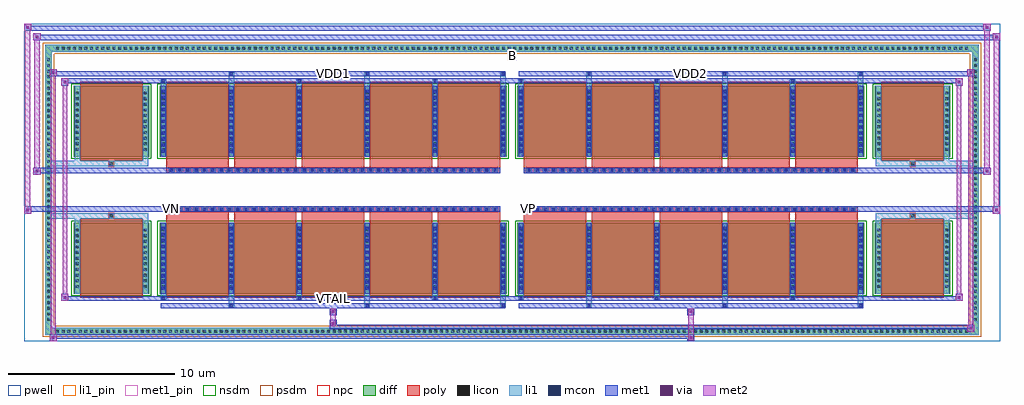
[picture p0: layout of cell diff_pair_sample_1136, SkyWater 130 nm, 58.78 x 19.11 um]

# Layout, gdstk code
import gdstk
lib = gdstk.Library(unit=1e-6, precision=5e-09)
def R(c, l, rs):  # rectangles x0, y0, x1, y1
    for r in rs: c.add(gdstk.rectangle(r[:2], r[2:], *l))
def A(c, l, x, y, w, h, nx, ny, dx, dy):  # array of equal rectangles
    R(c, l, [(x+i*dx, y+j*dy, x+i*dx+w, y+j*dy+h) for i in range(nx) for j in range(ny)])
def P(c, l, *ps):  # polygons
    for p in ps: c.add(gdstk.Polygon(p, *l))
pwell = (64, 44)
diff = (65, 20)
poly = (66, 20)
licon = (66, 44)
li1_pin = (67, 16)
li1 = (67, 20)
mcon = (67, 44)
met1_pin = (68, 16)
met1 = (68, 20)
via = (68, 44)
met2 = (69, 20)
nsdm = (93, 44)
psdm = (94, 20)
npc = (95, 20)

diff_pair_sample_1136 = lib.new_cell('diff_pair_sample_1136')
R(diff_pair_sample_1136, pwell, [(-29.39,-9.12,29.39,9.99), (-26.71,-7.31,-0.01,-0.805), (0.01,-7.31,26.71,-0.805), (-26.71,0.805,-0.01,7.31), (0.01,0.805,26.71,7.31)])
A(diff_pair_sample_1136, diff, -27.575, -8.72, 0.41, 0.41, 162, 2, 0.34, 17.03)
A(diff_pair_sample_1136, diff, -28.12, -8.025, 0.41, 0.41, 1, 47, 0, 0.34)
A(diff_pair_sample_1136, diff, 27.71, -8.025, 0.41, 0.41, 1, 47, 0, 0.34)
R(diff_pair_sample_1136, diff, [(-27.575,-8.72,27.575,-8.31), (-28.12,-8.025,-27.71,8.025), (27.71,-8.025,28.12,8.025), (-26.4,-6.265,-21.86,-1.985), (-21.22,-6.265,-0.32,-1.985), (0.32,-6.265,21.22,-1.985), (21.86,-6.265,26.4,-1.985), (-26.4,1.985,-21.86,6.265), (-21.22,1.985,-0.32,6.265), (0.32,1.985,21.22,6.265), (21.86,1.985,26.4,6.265), (-27.575,8.31,27.575,8.72)])
P(diff_pair_sample_1136, diff, [(28.12,8.72),(-28.12,8.72),(-28.12,-8.31),(-27.71,-8.31),(-27.71,8.31),(27.71,8.31),(27.71,-8.31),(-27.71,-8.31),(-28.12,-8.31),(-28.12,-8.72),(28.12,-8.72)])
A(diff_pair_sample_1136, poly, -20.83, -6.515, 3.76, 4.78, 5, 2, 4.09, 8.25)
A(diff_pair_sample_1136, poly, 0.71, -6.515, 3.76, 4.78, 5, 2, 4.09, 8.25)
A(diff_pair_sample_1136, poly, -20.83, -1.735, 3.76, 0.4, 5, 2, 4.09, 3.07)
A(diff_pair_sample_1136, poly, 0.71, -1.735, 3.76, 0.4, 5, 2, 4.09, 3.07)
A(diff_pair_sample_1136, poly, -20.685, -1.335, 0.33, 0.33, 40, 2, 0.5, 2.34)
A(diff_pair_sample_1136, poly, 0.855, -1.335, 0.33, 0.33, 40, 2, 0.5, 2.34)
R(diff_pair_sample_1136, poly, [(-26.01,-6.515,-22.25,-1.735), (22.25,-6.515,26.01,-1.735), (-24.295,-1.735,-23.965,-1.405), (-24.295,-1.735,-23.965,-1.405), (23.965,-1.735,24.295,-1.405), (23.965,-1.735,24.295,-1.405), (-20.83,-1.335,-0.71,-1.005), (0.71,-1.335,20.83,-1.005), (-20.83,1.005,-0.71,1.335), (0.71,1.005,20.83,1.335), (-24.295,1.405,-23.965,1.735), (-24.295,1.405,-23.965,1.735), (23.965,1.405,24.295,1.735), (23.965,1.405,24.295,1.735), (-26.01,1.735,-22.25,6.515), (22.25,1.735,26.01,6.515)])
A(diff_pair_sample_1136, licon, -27.455, -8.6, 0.17, 0.17, 162, 2, 0.34, 17.03)
A(diff_pair_sample_1136, licon, -28, -7.905, 0.17, 0.17, 1, 47, 0, 0.34)
A(diff_pair_sample_1136, licon, 27.83, -7.905, 0.17, 0.17, 1, 47, 0, 0.34)
A(diff_pair_sample_1136, licon, -26.26, -5.91, 0.17, 0.17, 1, 11, 0, 0.34)
A(diff_pair_sample_1136, licon, -22.17, -5.91, 0.17, 0.17, 1, 11, 0, 0.34)
A(diff_pair_sample_1136, licon, -21.08, -5.91, 0.17, 0.17, 6, 11, 4.09, 0.34)
A(diff_pair_sample_1136, licon, 0.46, -5.91, 0.17, 0.17, 6, 11, 4.09, 0.34)
A(diff_pair_sample_1136, licon, 22, -5.91, 0.17, 0.17, 1, 11, 0, 0.34)
A(diff_pair_sample_1136, licon, 26.09, -5.91, 0.17, 0.17, 1, 11, 0, 0.34)
A(diff_pair_sample_1136, licon, -20.605, -1.255, 0.17, 0.17, 40, 2, 0.5, 2.34)
A(diff_pair_sample_1136, licon, 0.935, -1.255, 0.17, 0.17, 40, 2, 0.5, 2.34)
A(diff_pair_sample_1136, licon, -26.26, 2.34, 0.17, 0.17, 1, 11, 0, 0.34)
A(diff_pair_sample_1136, licon, -22.17, 2.34, 0.17, 0.17, 1, 11, 0, 0.34)
A(diff_pair_sample_1136, licon, -21.08, 2.34, 0.17, 0.17, 6, 11, 4.09, 0.34)
A(diff_pair_sample_1136, licon, 0.46, 2.34, 0.17, 0.17, 6, 11, 4.09, 0.34)
A(diff_pair_sample_1136, licon, 22, 2.34, 0.17, 0.17, 1, 11, 0, 0.34)
A(diff_pair_sample_1136, licon, 26.09, 2.34, 0.17, 0.17, 1, 11, 0, 0.34)
R(diff_pair_sample_1136, licon, [(-24.215,-1.655,-24.045,-1.485), (24.045,-1.655,24.215,-1.485), (-24.215,1.485,-24.045,1.655), (24.045,1.485,24.215,1.655)])
R(diff_pair_sample_1136, li1_pin, [(-0.25,7.81,0.25,8.31)])
A(diff_pair_sample_1136, li1, -27.535, -8.68, 0.33, 0.33, 162, 2, 0.34, 17.03)
A(diff_pair_sample_1136, li1, -28.08, -7.985, 0.33, 0.33, 1, 47, 0, 0.34)
A(diff_pair_sample_1136, li1, 27.75, -7.985, 0.33, 0.33, 1, 47, 0, 0.34)
A(diff_pair_sample_1136, li1, -17.07, -7.07, 0.33, 0.805, 3, 2, 8.18, 13.335)
A(diff_pair_sample_1136, li1, -16.99, -7.07, 0.17, 0.17, 3, 2, 8.18, 13.97)
A(diff_pair_sample_1136, li1, 4.47, -7.07, 0.33, 0.805, 3, 2, 8.18, 13.335)
A(diff_pair_sample_1136, li1, 4.55, -7.07, 0.17, 0.17, 3, 2, 8.18, 13.97)
A(diff_pair_sample_1136, li1, -21.16, -6.64, 0.33, 0.375, 3, 2, 8.18, 12.905)
A(diff_pair_sample_1136, li1, -21.08, -6.64, 0.17, 0.17, 3, 2, 8.18, 13.11)
A(diff_pair_sample_1136, li1, 0.38, -6.64, 0.33, 0.375, 3, 2, 8.18, 12.905)
A(diff_pair_sample_1136, li1, 0.46, -6.64, 0.17, 0.17, 3, 2, 8.18, 13.11)
A(diff_pair_sample_1136, li1, -21.16, -6.265, 0.33, 4.28, 6, 2, 4.09, 8.25)
A(diff_pair_sample_1136, li1, 0.38, -6.265, 0.33, 4.28, 6, 2, 4.09, 8.25)
A(diff_pair_sample_1136, li1, -21.08, -6.01, 0.17, 0.17, 6, 11, 4.09, 0.36)
A(diff_pair_sample_1136, li1, -21.08, -6.01, 0.17, 3.77, 6, 2, 4.09, 8.25)
A(diff_pair_sample_1136, li1, 0.46, -6.01, 0.17, 0.17, 6, 11, 4.09, 0.36)
A(diff_pair_sample_1136, li1, 0.46, -6.01, 0.17, 3.77, 6, 2, 4.09, 8.25)
A(diff_pair_sample_1136, li1, -26.34, -5.99, 0.33, 0.33, 1, 11, 0, 0.34)
A(diff_pair_sample_1136, li1, -22.25, -5.99, 0.33, 0.33, 1, 11, 0, 0.34)
A(diff_pair_sample_1136, li1, -21.16, -5.99, 0.33, 0.33, 6, 11, 4.09, 0.34)
A(diff_pair_sample_1136, li1, 0.38, -5.99, 0.33, 0.33, 6, 11, 4.09, 0.34)
A(diff_pair_sample_1136, li1, 21.92, -5.99, 0.33, 0.33, 1, 11, 0, 0.34)
A(diff_pair_sample_1136, li1, 26.01, -5.99, 0.33, 0.33, 1, 11, 0, 0.34)
A(diff_pair_sample_1136, li1, -20.685, -1.335, 0.33, 0.33, 40, 2, 0.5, 2.34)
A(diff_pair_sample_1136, li1, 0.855, -1.335, 0.33, 0.33, 40, 2, 0.5, 2.34)
A(diff_pair_sample_1136, li1, -21.08, 2.24, 0.17, 0.17, 6, 11, 4.09, 0.36)
A(diff_pair_sample_1136, li1, 0.46, 2.24, 0.17, 0.17, 6, 11, 4.09, 0.36)
A(diff_pair_sample_1136, li1, -26.34, 2.26, 0.33, 0.33, 1, 11, 0, 0.34)
A(diff_pair_sample_1136, li1, -22.25, 2.26, 0.33, 0.33, 1, 11, 0, 0.34)
A(diff_pair_sample_1136, li1, -21.16, 2.26, 0.33, 0.33, 6, 11, 4.09, 0.34)
A(diff_pair_sample_1136, li1, 0.38, 2.26, 0.33, 0.33, 6, 11, 4.09, 0.34)
A(diff_pair_sample_1136, li1, 21.92, 2.26, 0.33, 0.33, 1, 11, 0, 0.34)
A(diff_pair_sample_1136, li1, 26.01, 2.26, 0.33, 0.33, 1, 11, 0, 0.34)
R(diff_pair_sample_1136, li1, [(-28.12,-8.72,-27.71,-8.31), (-28.12,-8.72,-27.71,-8.31), (-27.71,-8.72,27.71,-8.31), (27.71,-8.72,28.12,-8.31), (27.71,-8.72,28.12,-8.31), (-28.12,-8.31,-27.71,8.31), (27.71,-8.31,28.12,8.31), (-26.34,-6.265,-26.01,-1.985), (-22.25,-6.265,-21.92,-1.985), (21.92,-6.265,22.25,-1.985), (26.01,-6.265,26.34,-1.985), (-26.34,-1.985,-26.01,-1.405), (-22.25,-1.985,-21.92,-1.405), (21.92,-1.985,22.25,-1.405), (26.01,-1.985,26.34,-1.405), (-28.12,-1.735,-24.295,-1.405), (-26.34,-1.735,-24.295,-1.405), (-24.295,-1.735,-23.965,-1.405), (-23.965,-1.735,-21.92,-1.405), (21.92,-1.735,23.965,-1.405), (23.965,-1.735,24.295,-1.405), (23.965,-1.735,28.12,-1.405), (24.295,-1.735,26.34,-1.405), (-28.12,1.405,-24.295,1.735), (-26.34,1.405,-24.295,1.735), (-26.34,1.405,-26.01,1.985), (-24.295,1.405,-23.965,1.735), (-23.965,1.405,-21.92,1.735), (-22.25,1.405,-21.92,1.985), (21.92,1.405,23.965,1.735), (21.92,1.405,22.25,1.985), (23.965,1.405,24.295,1.735), (23.965,1.405,28.12,1.735), (24.295,1.405,26.34,1.735), (26.01,1.405,26.34,1.985), (-26.34,1.985,-26.01,6.265), (-22.25,1.985,-21.92,6.265), (21.92,1.985,22.25,6.265), (26.01,1.985,26.34,6.265), (-28.12,8.31,-27.71,8.72), (-28.12,8.31,-27.71,8.72), (-27.71,8.31,27.71,8.72), (27.71,8.31,28.12,8.72), (27.71,8.31,28.12,8.72)])
A(diff_pair_sample_1136, mcon, -16.99, -7.07, 0.17, 0.17, 3, 2, 8.18, 13.97)
A(diff_pair_sample_1136, mcon, 4.55, -7.07, 0.17, 0.17, 3, 2, 8.18, 13.97)
A(diff_pair_sample_1136, mcon, -21.08, -6.64, 0.17, 0.17, 3, 2, 8.18, 13.11)
A(diff_pair_sample_1136, mcon, 0.46, -6.64, 0.17, 0.17, 3, 2, 8.18, 13.11)
A(diff_pair_sample_1136, mcon, -21.08, -6.01, 0.17, 0.17, 6, 11, 4.09, 0.36)
A(diff_pair_sample_1136, mcon, 0.46, -6.01, 0.17, 0.17, 6, 11, 4.09, 0.36)
A(diff_pair_sample_1136, mcon, -20.605, -1.255, 0.17, 0.17, 40, 2, 0.5, 2.34)
A(diff_pair_sample_1136, mcon, 0.935, -1.255, 0.17, 0.17, 40, 2, 0.5, 2.34)
A(diff_pair_sample_1136, mcon, -21.08, 2.24, 0.17, 0.17, 6, 11, 4.09, 0.36)
A(diff_pair_sample_1136, mcon, 0.46, 2.24, 0.17, 0.17, 6, 11, 4.09, 0.36)
R(diff_pair_sample_1136, met1_pin, [(-10.905,-6.68,-10.635,-6.41), (-20.655,-1.295,-20.385,-1.025), (0.885,-1.295,1.155,-1.025), (-10.905,6.86,-10.635,7.13), (10.635,6.86,10.905,7.13)])
A(diff_pair_sample_1136, met1, -17.05, -7.13, 0.29, 0.29, 3, 2, 8.18, 13.97)
A(diff_pair_sample_1136, met1, 4.49, -7.13, 0.29, 0.29, 3, 2, 8.18, 13.97)
A(diff_pair_sample_1136, met1, -21.14, -6.7, 0.29, 0.29, 3, 2, 8.18, 13.11)
A(diff_pair_sample_1136, met1, 0.4, -6.7, 0.29, 0.29, 3, 2, 8.18, 13.11)
A(diff_pair_sample_1136, met1, -21.14, -6.265, 0.29, 4.28, 6, 2, 4.09, 8.25)
A(diff_pair_sample_1136, met1, 0.4, -6.265, 0.29, 4.28, 6, 2, 4.09, 8.25)
A(diff_pair_sample_1136, met1, -21.14, -6.07, 0.29, 0.29, 6, 11, 4.09, 0.36)
A(diff_pair_sample_1136, met1, 0.4, -6.07, 0.29, 0.29, 6, 11, 4.09, 0.36)
A(diff_pair_sample_1136, met1, -20.665, -1.315, 0.29, 0.29, 40, 2, 0.5, 2.34)
A(diff_pair_sample_1136, met1, 0.875, -1.315, 0.29, 0.29, 40, 2, 0.5, 2.34)
A(diff_pair_sample_1136, met1, -21.14, 2.18, 0.29, 0.29, 6, 11, 4.09, 0.36)
A(diff_pair_sample_1136, met1, 0.4, 2.18, 0.29, 0.29, 6, 11, 4.09, 0.36)
R(diff_pair_sample_1136, met1, [(-27.85,-9.12,-27.42,-8.69), (10.555,-9.12,10.985,-8.69), (-27.85,-8.98,10.985,-8.69), (27.42,-8.55,27.85,-8.12), (-10.985,-8.41,27.85,-8.12), (-10.985,-8.27,-10.555,-7.84), (-10.985,-7.56,-10.555,-7.13), (10.555,-7.56,10.985,-7.13), (-21.14,-7.13,-0.4,-6.84), (0.4,-7.13,21.14,-6.84), (-27.14,-6.7,-26.71,-6.27), (-27.14,-6.7,-21.14,-6.41), (-21.14,-6.7,-0.4,-6.41), (-0.4,-6.7,0.4,-6.41), (0.4,-6.7,21.14,-6.41), (21.14,-6.7,27.14,-6.41), (26.71,-6.7,27.14,-6.27), (-29.39,-1.435,-28.96,-1.005), (28.96,-1.435,29.39,-1.005), (-29.39,-1.335,-0.71,-1.005), (-20.83,-1.335,-0.71,-1.005), (0.71,-1.335,20.83,-1.005), (0.71,-1.335,29.39,-1.005), (-28.82,0.905,-28.39,1.335), (28.39,0.905,28.82,1.335), (-28.82,1.005,-20.83,1.335), (-20.83,1.005,-0.71,1.335), (0.71,1.005,20.83,1.335), (20.83,1.005,28.82,1.335), (-27.14,6.27,-26.71,6.7), (26.71,6.27,27.14,6.7), (-27.14,6.41,-21.14,6.7), (-21.14,6.41,-0.4,6.7), (-0.4,6.41,0.4,6.7), (0.4,6.41,21.14,6.7), (21.14,6.41,27.14,6.7), (-27.85,6.84,-27.42,7.27), (-27.85,6.84,-21.14,7.13), (-21.14,6.84,-0.4,7.13), (0.4,6.84,21.14,7.13), (21.14,6.84,27.85,7.13), (27.42,6.84,27.85,7.27), (-28.82,8.99,-28.39,9.42), (-28.82,8.99,-26.71,9.32), (-26.71,8.99,26.71,9.32), (26.71,8.99,29.39,9.32), (28.96,8.99,29.39,9.42), (-29.39,9.56,-28.96,9.99), (-29.39,9.56,-26.71,9.89), (-26.71,9.56,26.71,9.89), (26.71,9.56,28.82,9.89), (28.39,9.56,28.82,9.99)])
R(diff_pair_sample_1136, via, [(-27.71,-8.98,-27.56,-8.83), (10.695,-8.98,10.845,-8.83), (27.56,-8.41,27.71,-8.26), (-10.845,-8.13,-10.695,-7.98), (-10.845,-7.42,-10.695,-7.27), (10.695,-7.42,10.845,-7.27), (-27,-6.56,-26.85,-6.41), (26.85,-6.56,27,-6.41), (-29.25,-1.295,-29.1,-1.145), (29.1,-1.295,29.25,-1.145), (-28.68,1.045,-28.53,1.195), (28.53,1.045,28.68,1.195), (-27,6.41,-26.85,6.56), (26.85,6.41,27,6.56), (-27.71,6.98,-27.56,7.13), (27.56,6.98,27.71,7.13), (-28.68,9.13,-28.53,9.28), (29.1,9.13,29.25,9.28), (-29.25,9.7,-29.1,9.85), (28.53,9.7,28.68,9.85)])
R(diff_pair_sample_1136, met2, [(-27.85,-9.12,-27.42,-8.69), (-27.78,-9.12,-27.49,7.27), (-27.49,-9.12,-27.42,-8.69), (-27.8,-9.07,-27.47,-8.74), (10.605,-9.07,10.935,-8.74), (10.605,-8.74,10.935,-7.51), (27.42,-8.55,27.85,-8.12), (27.49,-8.55,27.78,7.27), (27.78,-8.55,27.85,-8.12), (27.47,-8.5,27.8,-8.17), (-10.935,-8.22,-10.605,-7.89), (-10.935,-7.89,-10.605,-7.51), (-10.935,-7.51,-10.605,-7.18), (10.605,-7.51,10.935,-7.18), (-27.14,-6.7,-26.71,-6.27), (-27.07,-6.7,-26.78,6.7), (-26.78,-6.7,-26.71,-6.27), (26.71,-6.7,27.14,-6.27), (26.78,-6.7,27.07,6.7), (27.07,-6.7,27.14,-6.27), (-27.09,-6.65,-26.76,-6.32), (26.76,-6.65,27.09,-6.32), (-29.39,-1.435,-28.96,-1.005), (-29.34,-1.435,-29.01,9.99), (-29.01,-1.435,-28.96,-1.005), (28.96,-1.435,29.39,-1.005), (29.01,-1.435,29.34,9.42), (29.34,-1.435,29.39,-1.005), (-29.34,-1.385,-29.01,-1.055), (29.01,-1.385,29.34,-1.055), (-28.82,0.905,-28.39,1.335), (-28.77,0.905,-28.44,9.42), (-28.44,0.905,-28.39,1.335), (28.39,0.905,28.82,1.335), (28.44,0.905,28.77,9.99), (28.77,0.905,28.82,1.335), (-28.77,0.955,-28.44,1.285), (28.44,0.955,28.77,1.285), (-27.14,6.27,-26.71,6.7), (-26.78,6.27,-26.71,6.7), (26.71,6.27,27.14,6.7), (27.07,6.27,27.14,6.7), (-27.09,6.32,-26.76,6.65), (26.76,6.32,27.09,6.65), (-27.85,6.84,-27.42,7.27), (-27.49,6.84,-27.42,7.27), (27.42,6.84,27.85,7.27), (27.78,6.84,27.85,7.27), (-27.8,6.89,-27.47,7.22), (27.47,6.89,27.8,7.22), (-28.82,8.99,-28.39,9.42), (-28.44,8.99,-28.39,9.42), (28.96,8.99,29.39,9.42), (29.34,8.99,29.39,9.42), (-28.77,9.04,-28.44,9.37), (29.01,9.04,29.34,9.37), (-29.39,9.56,-28.96,9.99), (-29.01,9.56,-28.96,9.99), (28.39,9.56,28.82,9.99), (28.77,9.56,28.82,9.99), (-29.34,9.61,-29.01,9.94), (28.44,9.61,28.77,9.94)])
R(diff_pair_sample_1136, nsdm, [(-26.53,-6.395,-21.73,-1.855), (-21.35,-6.395,-0.19,-1.855), (0.19,-6.395,21.35,-1.855), (21.73,-6.395,26.53,-1.855), (-26.53,1.855,-21.73,6.395), (-21.35,1.855,-0.19,6.395), (0.19,1.855,21.35,6.395), (21.73,1.855,26.53,6.395)])
P(diff_pair_sample_1136, psdm, [(28.25,8.85),(-28.25,8.85),(-28.25,-8.18),(-27.58,-8.18),(-27.58,8.18),(27.58,8.18),(27.58,-8.18),(-27.58,-8.18),(-28.25,-8.18),(-28.25,-8.85),(28.25,-8.85)])
A(diff_pair_sample_1136, npc, -20.705, -1.355, 0.37, 0.37, 40, 2, 0.5, 2.34)
A(diff_pair_sample_1136, npc, 0.835, -1.355, 0.37, 0.37, 40, 2, 0.5, 2.34)
R(diff_pair_sample_1136, npc, [(-24.315,-1.755,-23.945,-1.385), (23.945,-1.755,24.315,-1.385), (-20.705,-1.355,-19.835,-0.985), (-20.705,-1.355,-19.835,-0.985), (-20.205,-1.355,-19.335,-0.985), (-20.205,-1.355,-19.335,-0.985), (-19.705,-1.355,-18.835,-0.985), (-19.705,-1.355,-18.835,-0.985), (-19.205,-1.355,-18.335,-0.985), (-19.205,-1.355,-18.335,-0.985), (-18.705,-1.355,-17.835,-0.985), (-18.705,-1.355,-17.835,-0.985), (-18.205,-1.355,-17.335,-0.985), (-18.205,-1.355,-17.335,-0.985), (-17.705,-1.355,-16.835,-0.985), (-17.705,-1.355,-16.835,-0.985), (-17.205,-1.355,-16.335,-0.985), (-17.205,-1.355,-16.335,-0.985), (-16.705,-1.355,-15.835,-0.985), (-16.705,-1.355,-15.835,-0.985), (-16.205,-1.355,-15.335,-0.985), (-16.205,-1.355,-15.335,-0.985), (-15.705,-1.355,-14.835,-0.985), (-15.705,-1.355,-14.835,-0.985), (-15.205,-1.355,-14.335,-0.985), (-15.205,-1.355,-14.335,-0.985), (-14.705,-1.355,-13.835,-0.985), (-14.705,-1.355,-13.835,-0.985), (-14.205,-1.355,-13.335,-0.985), (-14.205,-1.355,-13.335,-0.985), (-13.705,-1.355,-12.835,-0.985), (-13.705,-1.355,-12.835,-0.985), (-13.205,-1.355,-12.335,-0.985), (-13.205,-1.355,-12.335,-0.985), (-12.705,-1.355,-11.835,-0.985), (-12.705,-1.355,-11.835,-0.985), (-12.205,-1.355,-11.335,-0.985), (-12.205,-1.355,-11.335,-0.985), (-11.705,-1.355,-10.835,-0.985), (-11.705,-1.355,-10.835,-0.985), (-11.205,-1.355,-10.335,-0.985), (-11.205,-1.355,-10.335,-0.985), (-10.705,-1.355,-9.835,-0.985), (-10.705,-1.355,-9.835,-0.985), (-10.205,-1.355,-9.335,-0.985), (-10.205,-1.355,-9.335,-0.985), (-9.705,-1.355,-8.835,-0.985), (-9.705,-1.355,-8.835,-0.985), (-9.205,-1.355,-8.335,-0.985), (-9.205,-1.355,-8.335,-0.985), (-8.705,-1.355,-7.835,-0.985), (-8.705,-1.355,-7.835,-0.985), (-8.205,-1.355,-7.335,-0.985), (-8.205,-1.355,-7.335,-0.985), (-7.705,-1.355,-6.835,-0.985), (-7.705,-1.355,-6.835,-0.985), (-7.205,-1.355,-6.335,-0.985), (-7.205,-1.355,-6.335,-0.985), (-6.705,-1.355,-5.835,-0.985), (-6.705,-1.355,-5.835,-0.985), (-6.205,-1.355,-5.335,-0.985), (-6.205,-1.355,-5.335,-0.985), (-5.705,-1.355,-4.835,-0.985), (-5.705,-1.355,-4.835,-0.985), (-5.205,-1.355,-4.335,-0.985), (-5.205,-1.355,-4.335,-0.985), (-4.705,-1.355,-3.835,-0.985), (-4.705,-1.355,-3.835,-0.985), (-4.205,-1.355,-3.335,-0.985), (-4.205,-1.355,-3.335,-0.985), (-3.705,-1.355,-2.835,-0.985), (-3.705,-1.355,-2.835,-0.985), (-3.205,-1.355,-2.335,-0.985), (-3.205,-1.355,-2.335,-0.985), (-2.705,-1.355,-1.835,-0.985), (-2.705,-1.355,-1.835,-0.985), (-2.205,-1.355,-1.335,-0.985), (-2.205,-1.355,-1.335,-0.985), (-1.705,-1.355,-0.835,-0.985), (-1.705,-1.355,-0.835,-0.985), (0.835,-1.355,1.705,-0.985), (0.835,-1.355,1.705,-0.985), (1.335,-1.355,2.205,-0.985), (1.335,-1.355,2.205,-0.985), (1.835,-1.355,2.705,-0.985), (1.835,-1.355,2.705,-0.985), (2.335,-1.355,3.205,-0.985), (2.335,-1.355,3.205,-0.985), (2.835,-1.355,3.705,-0.985), (2.835,-1.355,3.705,-0.985), (3.335,-1.355,4.205,-0.985), (3.335,-1.355,4.205,-0.985), (3.835,-1.355,4.705,-0.985), (3.835,-1.355,4.705,-0.985), (4.335,-1.355,5.205,-0.985), (4.335,-1.355,5.205,-0.985), (4.835,-1.355,5.705,-0.985), (4.835,-1.355,5.705,-0.985), (5.335,-1.355,6.205,-0.985), (5.335,-1.355,6.205,-0.985), (5.835,-1.355,6.705,-0.985), (5.835,-1.355,6.705,-0.985), (6.335,-1.355,7.205,-0.985), (6.335,-1.355,7.205,-0.985), (6.835,-1.355,7.705,-0.985), (6.835,-1.355,7.705,-0.985), (7.335,-1.355,8.205,-0.985), (7.335,-1.355,8.205,-0.985), (7.835,-1.355,8.705,-0.985), (7.835,-1.355,8.705,-0.985), (8.335,-1.355,9.205,-0.985), (8.335,-1.355,9.205,-0.985), (8.835,-1.355,9.705,-0.985), (8.835,-1.355,9.705,-0.985), (9.335,-1.355,10.205,-0.985), (9.335,-1.355,10.205,-0.985), (9.835,-1.355,10.705,-0.985), (9.835,-1.355,10.705,-0.985), (10.335,-1.355,11.205,-0.985), (10.335,-1.355,11.205,-0.985), (10.835,-1.355,11.705,-0.985), (10.835,-1.355,11.705,-0.985), (11.335,-1.355,12.205,-0.985), (11.335,-1.355,12.205,-0.985), (11.835,-1.355,12.705,-0.985), (11.835,-1.355,12.705,-0.985), (12.335,-1.355,13.205,-0.985), (12.335,-1.355,13.205,-0.985), (12.835,-1.355,13.705,-0.985), (12.835,-1.355,13.705,-0.985), (13.335,-1.355,14.205,-0.985), (13.335,-1.355,14.205,-0.985), (13.835,-1.355,14.705,-0.985), (13.835,-1.355,14.705,-0.985), (14.335,-1.355,15.205,-0.985), (14.335,-1.355,15.205,-0.985), (14.835,-1.355,15.705,-0.985), (14.835,-1.355,15.705,-0.985), (15.335,-1.355,16.205,-0.985), (15.335,-1.355,16.205,-0.985), (15.835,-1.355,16.705,-0.985), (15.835,-1.355,16.705,-0.985), (16.335,-1.355,17.205,-0.985), (16.335,-1.355,17.205,-0.985), (16.835,-1.355,17.705,-0.985), (16.835,-1.355,17.705,-0.985), (17.335,-1.355,18.205,-0.985), (17.335,-1.355,18.205,-0.985), (17.835,-1.355,18.705,-0.985), (17.835,-1.355,18.705,-0.985), (18.335,-1.355,19.205,-0.985), (18.335,-1.355,19.205,-0.985), (18.835,-1.355,19.705,-0.985), (18.835,-1.355,19.705,-0.985), (19.335,-1.355,20.205,-0.985), (19.335,-1.355,20.205,-0.985), (19.835,-1.355,20.705,-0.985), (19.835,-1.355,20.705,-0.985), (-20.705,0.985,-19.835,1.355), (-20.705,0.985,-19.835,1.355), (-20.205,0.985,-19.335,1.355), (-20.205,0.985,-19.335,1.355), (-19.705,0.985,-18.835,1.355), (-19.705,0.985,-18.835,1.355), (-19.205,0.985,-18.335,1.355), (-19.205,0.985,-18.335,1.355), (-18.705,0.985,-17.835,1.355), (-18.705,0.985,-17.835,1.355), (-18.205,0.985,-17.335,1.355), (-18.205,0.985,-17.335,1.355), (-17.705,0.985,-16.835,1.355), (-17.705,0.985,-16.835,1.355), (-17.205,0.985,-16.335,1.355), (-17.205,0.985,-16.335,1.355), (-16.705,0.985,-15.835,1.355), (-16.705,0.985,-15.835,1.355), (-16.205,0.985,-15.335,1.355), (-16.205,0.985,-15.335,1.355), (-15.705,0.985,-14.835,1.355), (-15.705,0.985,-14.835,1.355), (-15.205,0.985,-14.335,1.355), (-15.205,0.985,-14.335,1.355), (-14.705,0.985,-13.835,1.355), (-14.705,0.985,-13.835,1.355), (-14.205,0.985,-13.335,1.355), (-14.205,0.985,-13.335,1.355), (-13.705,0.985,-12.835,1.355), (-13.705,0.985,-12.835,1.355), (-13.205,0.985,-12.335,1.355), (-13.205,0.985,-12.335,1.355), (-12.705,0.985,-11.835,1.355), (-12.705,0.985,-11.835,1.355), (-12.205,0.985,-11.335,1.355), (-12.205,0.985,-11.335,1.355), (-11.705,0.985,-10.835,1.355), (-11.705,0.985,-10.835,1.355), (-11.205,0.985,-10.335,1.355), (-11.205,0.985,-10.335,1.355), (-10.705,0.985,-9.835,1.355), (-10.705,0.985,-9.835,1.355), (-10.205,0.985,-9.335,1.355), (-10.205,0.985,-9.335,1.355), (-9.705,0.985,-8.835,1.355), (-9.705,0.985,-8.835,1.355), (-9.205,0.985,-8.335,1.355), (-9.205,0.985,-8.335,1.355), (-8.705,0.985,-7.835,1.355), (-8.705,0.985,-7.835,1.355), (-8.205,0.985,-7.335,1.355), (-8.205,0.985,-7.335,1.355), (-7.705,0.985,-6.835,1.355), (-7.705,0.985,-6.835,1.355), (-7.205,0.985,-6.335,1.355), (-7.205,0.985,-6.335,1.355), (-6.705,0.985,-5.835,1.355), (-6.705,0.985,-5.835,1.355), (-6.205,0.985,-5.335,1.355), (-6.205,0.985,-5.335,1.355), (-5.705,0.985,-4.835,1.355), (-5.705,0.985,-4.835,1.355), (-5.205,0.985,-4.335,1.355), (-5.205,0.985,-4.335,1.355), (-4.705,0.985,-3.835,1.355), (-4.705,0.985,-3.835,1.355), (-4.205,0.985,-3.335,1.355), (-4.205,0.985,-3.335,1.355), (-3.705,0.985,-2.835,1.355), (-3.705,0.985,-2.835,1.355), (-3.205,0.985,-2.335,1.355), (-3.205,0.985,-2.335,1.355), (-2.705,0.985,-1.835,1.355), (-2.705,0.985,-1.835,1.355), (-2.205,0.985,-1.335,1.355), (-2.205,0.985,-1.335,1.355), (-1.705,0.985,-0.835,1.355), (-1.705,0.985,-0.835,1.355), (0.835,0.985,1.705,1.355), (0.835,0.985,1.705,1.355), (1.335,0.985,2.205,1.355), (1.335,0.985,2.205,1.355), (1.835,0.985,2.705,1.355), (1.835,0.985,2.705,1.355), (2.335,0.985,3.205,1.355), (2.335,0.985,3.205,1.355), (2.835,0.985,3.705,1.355), (2.835,0.985,3.705,1.355), (3.335,0.985,4.205,1.355), (3.335,0.985,4.205,1.355), (3.835,0.985,4.705,1.355), (3.835,0.985,4.705,1.355), (4.335,0.985,5.205,1.355), (4.335,0.985,5.205,1.355), (4.835,0.985,5.705,1.355), (4.835,0.985,5.705,1.355), (5.335,0.985,6.205,1.355), (5.335,0.985,6.205,1.355), (5.835,0.985,6.705,1.355), (5.835,0.985,6.705,1.355), (6.335,0.985,7.205,1.355), (6.335,0.985,7.205,1.355), (6.835,0.985,7.705,1.355), (6.835,0.985,7.705,1.355), (7.335,0.985,8.205,1.355), (7.335,0.985,8.205,1.355), (7.835,0.985,8.705,1.355), (7.835,0.985,8.705,1.355), (8.335,0.985,9.205,1.355), (8.335,0.985,9.205,1.355), (8.835,0.985,9.705,1.355), (8.835,0.985,9.705,1.355), (9.335,0.985,10.205,1.355), (9.335,0.985,10.205,1.355), (9.835,0.985,10.705,1.355), (9.835,0.985,10.705,1.355), (10.335,0.985,11.205,1.355), (10.335,0.985,11.205,1.355), (10.835,0.985,11.705,1.355), (10.835,0.985,11.705,1.355), (11.335,0.985,12.205,1.355), (11.335,0.985,12.205,1.355), (11.835,0.985,12.705,1.355), (11.835,0.985,12.705,1.355), (12.335,0.985,13.205,1.355), (12.335,0.985,13.205,1.355), (12.835,0.985,13.705,1.355), (12.835,0.985,13.705,1.355), (13.335,0.985,14.205,1.355), (13.335,0.985,14.205,1.355), (13.835,0.985,14.705,1.355), (13.835,0.985,14.705,1.355), (14.335,0.985,15.205,1.355), (14.335,0.985,15.205,1.355), (14.835,0.985,15.705,1.355), (14.835,0.985,15.705,1.355), (15.335,0.985,16.205,1.355), (15.335,0.985,16.205,1.355), (15.835,0.985,16.705,1.355), (15.835,0.985,16.705,1.355), (16.335,0.985,17.205,1.355), (16.335,0.985,17.205,1.355), (16.835,0.985,17.705,1.355), (16.835,0.985,17.705,1.355), (17.335,0.985,18.205,1.355), (17.335,0.985,18.205,1.355), (17.835,0.985,18.705,1.355), (17.835,0.985,18.705,1.355), (18.335,0.985,19.205,1.355), (18.335,0.985,19.205,1.355), (18.835,0.985,19.705,1.355), (18.835,0.985,19.705,1.355), (19.335,0.985,20.205,1.355), (19.335,0.985,20.205,1.355), (19.835,0.985,20.705,1.355), (19.835,0.985,20.705,1.355), (-24.315,1.385,-23.945,1.755), (23.945,1.385,24.315,1.755)])
diff_pair_sample_1136.add(gdstk.Label('VTAIL', (-10.77,-6.545), layer=68, texttype=5))
diff_pair_sample_1136.add(gdstk.Label('VN', (-20.52,-1.16), layer=68, texttype=5))
diff_pair_sample_1136.add(gdstk.Label('VP', (1.02,-1.16), layer=68, texttype=5))
diff_pair_sample_1136.add(gdstk.Label('B', (0,8.06), layer=67, texttype=5))
diff_pair_sample_1136.add(gdstk.Label('VDD2', (10.77,6.995), layer=68, texttype=5))
diff_pair_sample_1136.add(gdstk.Label('VDD1', (-10.77,6.995), layer=68, texttype=5))

lib.write_gds('diff_pair_sample_1136.gds')
